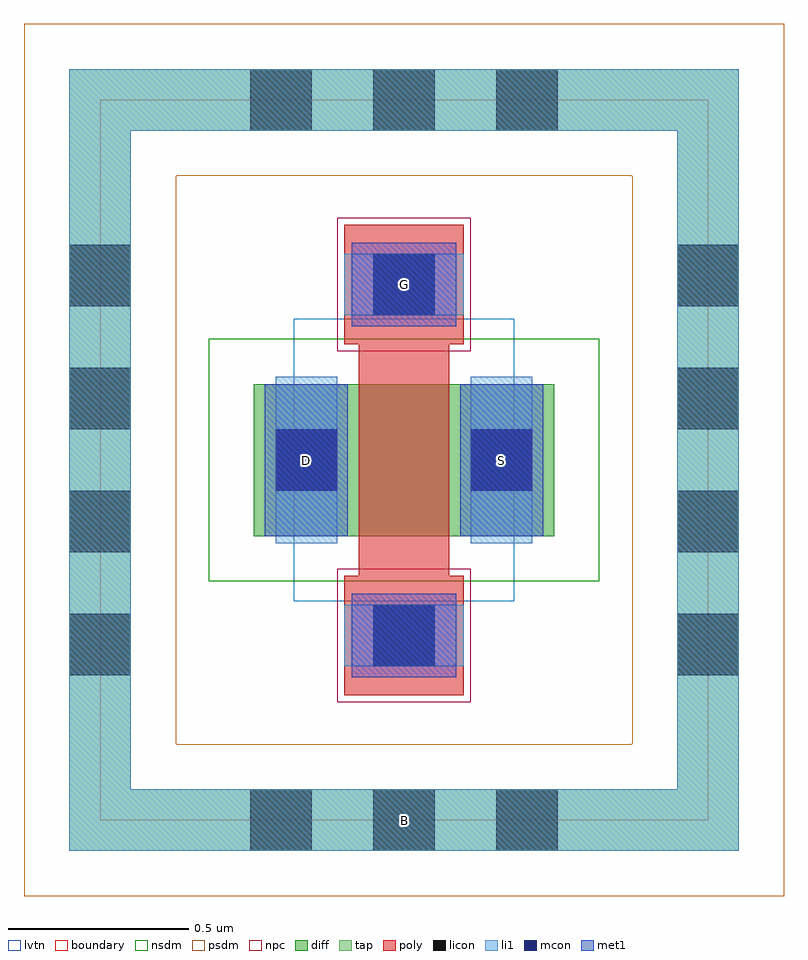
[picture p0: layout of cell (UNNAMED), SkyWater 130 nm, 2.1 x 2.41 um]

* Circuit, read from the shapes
.subckt (UNNAMED) B D G S
XM1 S G D B sky130_fd_pr__nfet_01v8_lvt w=0.42 l=0.25
.ends

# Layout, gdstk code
import gdstk
lib = gdstk.Library(unit=1e-6, precision=1e-09)
def R(c, l, rs):  # rectangles x0, y0, x1, y1
    for r in rs: c.add(gdstk.rectangle(r[:2], r[2:], *l))
def A(c, l, x, y, w, h, nx, ny, dx, dy):  # array of equal rectangles
    R(c, l, [(x+i*dx, y+j*dy, x+i*dx+w, y+j*dy+h) for i in range(nx) for j in range(ny)])
diff = (65, 20)
tap = (65, 44)
poly = (66, 20)
licon = (66, 44)
li1 = (67, 20)
mcon = (67, 44)
met1 = (68, 20)
nsdm = (93, 44)
psdm = (94, 20)
npc = (95, 20)
lvtn = (125, 44)
boundary = (235, 4)

c__unnamed_ = lib.new_cell('(UNNAMED)')
R(c__unnamed_, diff, [(-0.415,-0.21,0.415,0.21)])
R(c__unnamed_, tap, [(-0.925,-1.08,0.925,-0.91), (-0.925,-0.91,-0.755,0.91), (0.755,-0.91,0.925,0.91), (-0.925,0.91,0.925,1.08)])
R(c__unnamed_, poly, [(-0.165,-0.65,0.165,-0.32), (-0.125,-0.32,0.125,0.32), (-0.165,0.32,0.165,0.65)])
A(c__unnamed_, licon, -0.425, -1.08, 0.17, 0.17, 3, 2, 0.34, 1.99)
A(c__unnamed_, licon, -0.925, -0.595, 0.17, 0.17, 1, 4, 0, 0.34)
A(c__unnamed_, licon, 0.755, -0.595, 0.17, 0.17, 1, 4, 0, 0.34)
R(c__unnamed_, licon, [(-0.085,-0.57,0.085,-0.4), (-0.355,-0.085,-0.185,0.085), (0.185,-0.085,0.355,0.085), (-0.085,0.4,0.085,0.57)])
R(c__unnamed_, li1, [(-0.925,-1.08,0.925,-0.91), (-0.925,-0.91,-0.755,0.91), (0.755,-0.91,0.925,0.91), (-0.165,-0.57,0.165,-0.4), (-0.355,-0.23,-0.185,0.23), (0.185,-0.23,0.355,0.23), (-0.165,0.4,0.165,0.57), (-0.925,0.91,0.925,1.08)])
R(c__unnamed_, mcon, [(-0.085,-0.57,0.085,-0.4), (-0.355,-0.085,-0.185,0.085), (0.185,-0.085,0.355,0.085), (-0.085,0.4,0.085,0.57)])
R(c__unnamed_, met1, [(-0.145,-0.6,0.145,-0.37), (-0.385,-0.21,-0.155,0.21), (0.155,-0.21,0.385,0.21), (-0.145,0.37,0.145,0.6)])
R(c__unnamed_, nsdm, [(-0.54,-0.335,0.54,0.335)])
R(c__unnamed_, psdm, [(-1.05,-1.205,1.05,-0.785), (-1.05,-0.785,-0.63,0.785), (0.63,-0.785,1.05,0.785), (-1.05,0.785,1.05,1.205)])
R(c__unnamed_, npc, [(-0.185,-0.67,0.185,-0.3), (-0.185,0.3,0.185,0.67)])
R(c__unnamed_, lvtn, [(-0.305,-0.39,0.305,0.39)])
R(c__unnamed_, boundary, [(-0.84,-0.995,0.84,0.995)])
c__unnamed_.add(gdstk.Label('B', (0,-0.995), layer=67, texttype=5))
c__unnamed_.add(gdstk.Label('D', (-0.27,0), layer=67, texttype=5))
c__unnamed_.add(gdstk.Label('S', (0.27,0), layer=67, texttype=5))
c__unnamed_.add(gdstk.Label('G', (0,0.485), layer=67, texttype=5))

lib.write_gds('_UNNAMED_.gds')
